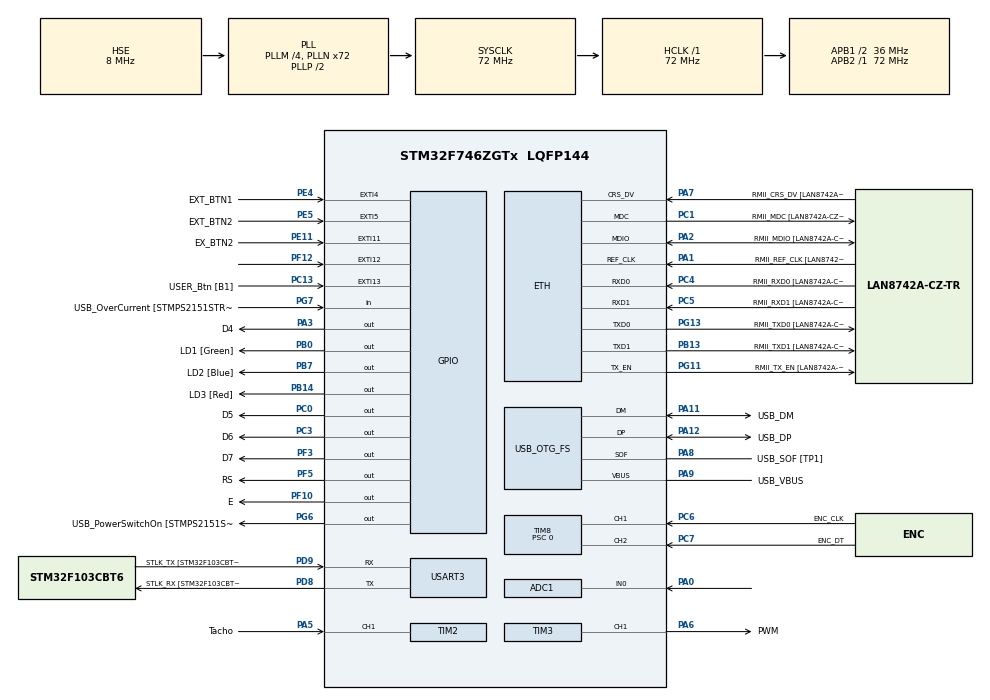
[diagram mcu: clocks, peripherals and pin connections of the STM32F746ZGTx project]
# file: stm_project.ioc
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ADC1.Channel-0\#ChannelRegularConversion=ADC_CHANNEL_0
ADC1.NbrOfConversionFlag=1
ADC1.Rank-0\#ChannelRegularConversion=1
ADC1.SamplingTime-0\#ChannelRegularConversion=ADC_SAMPLETIME_15CYCLES
ADC1.master=1
ETH.MediaInterface=HAL_ETH_RMII_MODE
ETH.PHY_Name=LAN8742A_PHY_ADDRESS
ETH.PHY_Value=0
ETH.PhyAddress=0
Mcu.Family=STM32F7
Mcu.Name=STM32F746ZGTx
Mcu.Package=LQFP144
NVIC.EXTI15_10_IRQn=true\:0\:0\:false\:false\:true\:true\:true\:true
NVIC.EXTI4_IRQn=true\:0\:0\:false\:false\:true\:true\:true\:true
NVIC.EXTI9_5_IRQn=true\:0\:0\:false\:false\:true\:true\:true\:true
NVIC.PriorityGroup=NVIC_PRIORITYGROUP_4
NVIC.TIM2_IRQn=true\:0\:0\:false\:false\:true\:true\:true\:true
NVIC.TIM3_IRQn=true\:0\:0\:false\:false\:true\:true\:true\:true
NVIC.TIM4_IRQn=true\:0\:0\:false\:false\:true\:true\:true\:true
NVIC.TIM7_IRQn=true\:0\:0\:false\:false\:true\:true\:true\:true
NVIC.TIM8_BRK_TIM12_IRQn=true\:0\:0\:false\:false\:true\:true\:true\:true
NVIC.TIM8_UP_TIM13_IRQn=true\:0\:0\:false\:false\:true\:true\:true\:true
NVIC.USART3_IRQn=true\:0\:0\:false\:false\:true\:true\:true\:true
PA0/WKUP.Signal=ADCx_IN0
PA1.GPIO_Label=RMII_REF_CLK [LAN8742A-CZ-TR_REFCLK0]
PA1.Mode=RMII
PA1.Signal=ETH_REF_CLK
PA10.GPIO_Label=USB_ID
PA10.Signal=USB_OTG_FS_ID
PA11.GPIO_Label=USB_DM
PA11.Mode=Device_Only
PA11.Signal=USB_OTG_FS_DM
PA12.GPIO_Label=USB_DP
PA12.Mode=Device_Only
PA12.Signal=USB_OTG_FS_DP
PA13.GPIO_Label=TMS
PA13.Mode=Serial_Wire
PA13.Signal=SYS_JTMS-SWDIO
PA14.GPIO_Label=TCK
PA14.Mode=Serial_Wire
PA14.Signal=SYS_JTCK-SWCLK
PA2.GPIO_Label=RMII_MDIO [LAN8742A-CZ-TR_MDIO]
PA2.Mode=RMII
PA2.Signal=ETH_MDIO
PA3.GPIO_Label=D4
PA3.Signal=GPIO_Output
PA5.GPIO_Label=Tacho
PA5.GPIO_PuPd=GPIO_PULLUP
PA5.Signal=S_TIM2_CH1_ETR
PA6.GPIO_Label=PWM
PA6.Signal=S_TIM3_CH1
PA7.GPIO_Label=RMII_CRS_DV [LAN8742A-CZ-TR_CRS_DV]
PA7.Mode=RMII
PA7.Signal=ETH_CRS_DV
PA8.GPIO_Label=USB_SOF [TP1]
PA8.Mode=Activate_SOF_FS
PA8.Signal=USB_OTG_FS_SOF
PA9.GPIO_Label=USB_VBUS
PA9.Mode=Activate_VBUS
PA9.Signal=USB_OTG_FS_VBUS
PB0.GPIO_Label=LD1 [Green]
PB0.Signal=GPIO_Output
PB13.GPIO_Label=RMII_TXD1 [LAN8742A-CZ-TR_TXD1]
PB13.Mode=RMII
PB13.Signal=ETH_TXD1
PB14.GPIO_Label=LD3 [Red]
PB14.Signal=GPIO_Output
PB3.GPIO_Label=SW0
PB3.Signal=SYS_JTDO-SWO
PB7.GPIO_Label=LD2 [Blue]
PB7.Signal=GPIO_Output
PC0.GPIO_Label=D5
PC0.Signal=GPIO_Output
PC1.GPIO_Label=RMII_MDC [LAN8742A-CZ-TR_MDC]
PC1.Mode=RMII
PC1.Signal=ETH_MDC
PC13.GPIO_Label=USER_Btn [B1]
PC13.Signal=GPXTI13
PC14/OSC32_IN.Mode=LSE-External-Oscillator
PC14/OSC32_IN.Signal=RCC_OSC32_IN
PC15/OSC32_OUT.Mode=LSE-External-Oscillator
PC15/OSC32_OUT.Signal=RCC_OSC32_OUT
PC3.GPIO_Label=D6
PC3.Signal=GPIO_Output
PC4.GPIO_Label=RMII_RXD0 [LAN8742A-CZ-TR_RXD0]
PC4.Mode=RMII
PC4.Signal=ETH_RXD0
PC5.GPIO_Label=RMII_RXD1 [LAN8742A-CZ-TR_RXD1]
PC5.Mode=RMII
PC5.Signal=ETH_RXD1
PC6.GPIO_Label=ENC_CLK
PC6.Signal=S_TIM8_CH1
PC7.GPIO_Label=ENC_DT
PC7.Signal=S_TIM8_CH2
PD8.GPIO_Label=STLK_RX [STM32F103CBT6_PA3]
PD8.GPIO_PuPd=GPIO_PULLUP
PD8.Mode=Asynchronous
PD8.Signal=USART3_TX
PD9.GPIO_Label=STLK_TX [STM32F103CBT6_PA2]
PD9.GPIO_PuPd=GPIO_PULLUP
PD9.Mode=Asynchronous
PD9.Signal=USART3_RX
PE11.GPIO_Label=EX_BTN2
PE11.GPIO_PuPd=GPIO_PULLUP
PE11.Signal=GPXTI11
PE4.GPIO_Label=EXT_BTN1
PE4.Signal=GPXTI4
PE5.GPIO_Label=EXT_BTN2
PE5.Signal=GPXTI5
PF10.GPIO_Label=E
PF10.Signal=GPIO_Output
PF12.GPIO_PuPd=GPIO_PULLUP
PF12.Signal=GPXTI12
PF3.GPIO_Label=D7
PF3.Signal=GPIO_Output
PF5.GPIO_Label=RS
PF5.Signal=GPIO_Output
PG11.GPIO_Label=RMII_TX_EN [LAN8742A-CZ-TR_TXEN]
PG11.Mode=RMII
PG11.Signal=ETH_TX_EN
PG13.GPIO_Label=RMII_TXD0 [LAN8742A-CZ-TR_TXD0]
PG13.Mode=RMII
PG13.Signal=ETH_TXD0
PG6.GPIO_Label=USB_PowerSwitchOn [STMPS2151STR_EN]
PG6.Signal=GPIO_Output
PG7.GPIO_Label=USB_OverCurrent [STMPS2151STR_FAULT]
PG7.Signal=GPIO_Input
PH0/OSC_IN.GPIO_Label=MCO [STM32F103CBT6_PA8]
PH0/OSC_IN.Mode=HSE-External-Clock-Source
PH0/OSC_IN.Signal=RCC_OSC_IN
PH1/OSC_OUT.Mode=HSE-External-Clock-Source
PH1/OSC_OUT.Signal=RCC_OSC_OUT
ProjectManager.HeapSize=0x200
ProjectManager.StackSize=0x400
ProjectManager.TargetToolchain=STM32CubeIDE
RCC.48MHZClocksFreq_Value=24000000
RCC.AHBFreq_Value=72000000
RCC.APB1CLKDivider=RCC_HCLK_DIV2
RCC.APB1Freq_Value=36000000
RCC.APB1TimFreq_Value=72000000
RCC.APB2Freq_Value=72000000
RCC.APB2TimFreq_Value=72000000
RCC.CortexFreq_Value=72000000
RCC.HCLKFreq_Value=72000000
RCC.HSE_VALUE=8000000
RCC.HSI_VALUE=16000000
RCC.PLLM=4
RCC.PLLMUL=RCC_PLL_MUL9
RCC.PLLN=72
RCC.PLLQ=3
RCC.PRESCALERUSB=RCC_USBCLKSOURCE_PLL_DIV1_5
RCC.SYSCLKFreq_VALUE=72000000
RCC.SYSCLKSource=RCC_SYSCLKSOURCE_PLLCLK
RCC.SYSCLKSourceVirtual=RCC_SYSCLKSOURCE_PLLCLK
RCC.USBFreq_Value=48000000
RCC.VCOOutputFreq_Value=144000000
SH.ADCx_IN0.0=ADC1_IN0,IN0
SH.S_TIM2_CH1_ETR.0=TIM2_CH1,Input_Capture1_from_TI1
SH.S_TIM3_CH1.0=TIM3_CH1,PWM Generation1 CH1
SH.S_TIM8_CH1.0=TIM8_CH1,Encoder_Interface
SH.S_TIM8_CH2.0=TIM8_CH2,Encoder_Interface
TIM2.AutoReloadPreload=TIM_AUTORELOAD_PRELOAD_ENABLE
TIM2.Channel-Input_Capture1_from_TI1=TIM_CHANNEL_1
TIM2.Period=4294967295
TIM2.Prescaler=0
TIM3.Channel-PWM\ Generation1\ CH1=TIM_CHANNEL_1
TIM3.OC1Preload_PWM=DISABLE
TIM3.Period=99
TIM3.Prescaler=27
TIM3.Pulse-PWM\ Generation1\ CH1=39
TIM4.Period=1999
TIM4.Prescaler=7199
TIM6.Prescaler=71
TIM7.Period=9999
TIM7.Prescaler=7199
TIM8.EncoderMode=TIM_ENCODERMODE_TI12
TIM8.Period=300
TIM8.Prescaler=0
USART3.VirtualMode-Asynchronous=VM_ASYNC
USB_OTG_FS.VirtualMode=Device_Only
VP_TIM3_VS_ClockSourceINT.Mode=Internal
VP_TIM4_VS_ClockSourceINT.Mode=Internal
VP_TIM6_VS_ClockSourceINT.Mode=Enable_Timer
VP_TIM7_VS_ClockSourceINT.Mode=Enable_Timer
board=NUCLEO-F746ZG

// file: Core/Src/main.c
/* USER CODE BEGIN Header */
/**
  ******************************************************************************
  * @file           : main.c
  * @brief          : Main program body
  ******************************************************************************
  * @attention
  *
  * Copyright (c) 2024 STMicroelectronics.
  * All rights reserved.
  *
  * This software is licensed under terms that can be found in the LICENSE file
  * in the root directory of this software component.
  * If no LICENSE file comes with this software, it is provided AS-IS.
  *
  ******************************************************************************
  */
/* USER CODE END Header */
#include "main.h"
#include "adc.h"
#include "eth.h"
#include "tim.h"
#include "usart.h"
#include "usb_otg.h"
#include "gpio.h"

/* USER CODE BEGIN Includes */
//_____________________________________________________________________________________________________________________________________________________________
//______________________________________INCLUDY________________________________________________________________________________________________________________
//_____________________________________________________________________________________________________________________________________________________________
#include "pid_controller_config.h"
#include "btn_config.h"
#include "lcd.h"
#include "math.h"
//_____________________________________________________________________________________________________________________________________________________________
/* USER CODE END Includes */

/* USER CODE BEGIN PD */
//_____________________________________________________________________________________________________________________________________________________________
//________________________________________ZMIENNE______________________________________________________________________________________________________________
//_____________________________________________________________________________________________________________________________________________________________
int aktualne_obroty = 0;
int zadane_obroty = 1000;
int Duty = 50;
float e = 0;
float e_procent = 0;
_Bool tryb_pracy = 0;
int enc_raw = 0;
int enc_mod = 0;
int wyswietlany_ekran = 0;
int tryb_pracy_python = 0;
uint32_t pomiar_01 = 0;
uint32_t pomiar_02 = 0;
uint32_t roznica = 0;
uint8_t flaga = 0;
uint32_t frequency = 0;
uint8_t buffer[32];
uint16_t dlug_wiad = 5;
//_____________________________________________________________________________________________________________________________________________________________
//____________________________________TACHOMETR________________________________________________________________________________________________________________
//_____________________________________________________________________________________________________________________________________________________________
void HAL_TIM_IC_CaptureCallback(TIM_HandleTypeDef *htim){
    // Sprawdzenie, czy przerwanie pochodzi od timera 2
    if(htim == &htim2){
        // Włączenie LED jako sygnał zdarzenia
        HAL_GPIO_WritePin(LD1_GPIO_Port, LD1_Pin, 1);
        // Sprawdzenie, czy przerwanie pochodzi z kanału 1
        if (htim->Channel == HAL_TIM_ACTIVE_CHANNEL_1){
            // Pierwsze przechwycenie
            if (flaga == 0){
                // Odczytanie pierwszej wartości
                pomiar_01 = HAL_TIM_ReadCapturedValue(htim, TIM_CHANNEL_1);
                flaga = 1;
            }else{
                // Odczytanie drugiej wartości
                pomiar_02 = HAL_TIM_ReadCapturedValue(htim, TIM_CHANNEL_1);
                // Obliczenie różnicy
                if (pomiar_02 > pomiar_01){roznica = pomiar_02 - pomiar_01;}
                // Obliczenie częstotliwości
                frequency = HAL_RCC_GetPCLK1Freq() / roznica;
                // Obliczenie obrotów
                aktualne_obroty = frequency * 30;
                // Resetowanie licznika timera
                __HAL_TIM_SET_COUNTER(htim, 0);
                // Resetowanie flagi
                flaga = 0;
            }
        }
    }
}
//_____________________________________________________________________________________________________________________________________________________________
//___________________________STEROWANIE PID, ZMIANA TRYBOW_____________________________________________________________________________________________________
//_____________________________________________________________________________________________________________________________________________________________
void HAL_TIM_PeriodElapsedCallback(TIM_HandleTypeDef *htim)
{
    // Sprawdzenie, czy przerwanie pochodzi od timera 4
    if(htim == &htim4)
    {
        //____________________________STEROWANIE PID__________________________
        Duty = PID_GetOutput(&hpid1, zadane_obroty, aktualne_obroty); // Obliczanie wyjścia PID
        __HAL_TIM_SET_COMPARE(&htim3, TIM_CHANNEL_1, (uint32_t)(Duty)); // Ustawianie wartości porównania PWM
        e = zadane_obroty - aktualne_obroty; // Obliczanie błędu
        e = fabs(e); // Wartość bezwzględna błędu
        e_procent = (e/zadane_obroty)*100; // Obliczanie procentowego błędu
        //____________________________________________________________________
        //__________________________ZMIANA TRYBU I EKRANU_____________________
        // Zmiana trybu pracy po naciśnięciu przycisku 1
        if(BTN_DIO_EdgeDetected(&EXT_BTN1) == BTN_PRESSED_EDGE){
            if (tryb_pracy == 1)
                tryb_pracy = 0;
            else
                tryb_pracy = 1;
        }
        // Zmiana ekranu po naciśnięciu przycisku 2
        if(BTN_DIO_EdgeDetected(&EXT_BTN2) == BTN_PRESSED_EDGE){
            wyswietlany_ekran = wyswietlany_ekran + 1; // Zwiększenie indeksu ekranu
            if(wyswietlany_ekran == 3) // Jeśli osiągnięto 3 ekrany, wróć do 0
                wyswietlany_ekran = 0;
        }
        //____________________________________________________________________
        //__________________________REGULACJA ENKODER_________________________
        // Odczytanie surowego licznika enkodera
        enc_raw = __HAL_TIM_GET_COUNTER(&htim8);
        // Modyfikacja wartości licznika w zależności od wartości
        if(enc_raw < 100)
            enc_mod = 1000 + enc_raw; // Jeśli mniej niż 100, dodaj 1000
        else
            enc_mod = enc_raw * 10; // W przeciwnym przypadku pomnóż przez 10
        // Ustawienie zadanych obrotów na wartość enkodera, jeśli tryb pracy jest 1
        if(tryb_pracy == 1)
            zadane_obroty = enc_mod;
    }
    //____________________________________________________________________
    //__________________________WYSYLANIE UART____________________________
    // Sprawdzenie, czy przerwanie pochodzi od timera 7
    if(htim == &htim7)
    {
        uint8_t tx_buffer[64];
        // Przygotowanie danych do wysłania w formacie JSON
        int resp_len = sprintf((char*)tx_buffer, "{ \"RPM\":%d, \"RPM_REF\":%d, \"Duty\":%d }\n\r", aktualne_obroty, zadane_obroty, Duty);
        // Wysyłanie danych przez UART
        HAL_UART_Transmit(&huart3, tx_buffer, resp_len, 10);
    }
}
//_____________________________________________________________________________________________________________________________________________________________
//______________________________ODBIOR UART i PYTHOB TRYB______________________________________________________________________________________________________
//_____________________________________________________________________________________________________________________________________________________________
void HAL_UART_RxCpltCallback(UART_HandleTypeDef *huart){
    // Sprawdzenie, czy przerwanie pochodzi od UART3
    if (huart == &huart3) {
        // Terminator, aby traktować buffer jako string (dodanie końca ciągu)
        buffer[5] = '\0';
        // Odczytanie pierwszych 4 cyfr jako obroty
        sscanf((char*)buffer, "%4d", &zadane_obroty);
        // Odczytanie 5-tego znaku jako tryb
        char mode_char = buffer[4];
        // Ustawienie trybu pracy na podstawie otrzymanego znaku
        tryb_pracy_python = (mode_char == '1') ? 1 : 0;
        // Ponowne uruchomienie odbioru danych przez UART
        HAL_UART_Receive_IT(&huart3, buffer, 5);
        // Przypisanie trybu pracy
        tryb_pracy = tryb_pracy_python;
    }
}
//_____________________________________________________________________________________
//_____________________________________________________________________________________

/* USER CODE END PD */

void SystemClock_Config(void);

int main(void)
{

  /* MCU Configuration--------------------------------------------------------*/

  /* Reset of all peripherals, Initializes the Flash interface and the Systick. */
  HAL_Init();

  /* Configure the system clock */
  SystemClock_Config();

  /* Initialize all configured peripherals */
  MX_GPIO_Init();
  MX_ETH_Init();
  MX_USART3_UART_Init();
  MX_USB_OTG_FS_PCD_Init();
  MX_TIM2_Init();
  MX_TIM3_Init();
  MX_TIM4_Init();
  MX_TIM6_Init();
  MX_TIM7_Init();
  MX_ADC1_Init();
  MX_TIM8_Init();
  /* USER CODE BEGIN 2 */
  //____________________________________________________________________________________________________________________________________________
  //_____________________INICJALIZACJA WSZYSTKIEGO______________________________________________________________________________________________
  HAL_TIM_Base_Start_IT(&htim2);
  HAL_TIM_IC_Start_IT(&htim2, TIM_CHANNEL_1);
  HAL_TIM_PWM_Start(&htim3,TIM_CHANNEL_1);
  HAL_TIM_Base_Start_IT(&htim4);
  HAL_TIM_Base_Start_IT(&htim7);
  HAL_UART_Receive_IT(&huart3, buffer, dlug_wiad);
  HAL_TIM_Encoder_Start(&htim8, TIM_CHANNEL_ALL);
  //____________________________________________________________________________________________________________________________________________
  //_________________________INICJALIZACJA LCD__________________________________________________________________________________________________
  Lcd_PortType ports[] = {D4_GPIO_Port, D5_GPIO_Port, D6_GPIO_Port, D7_GPIO_Port};
  Lcd_PinType pins[] = {D4_Pin, D5_Pin, D6_Pin, D7_Pin};
  Lcd_HandleTypeDef lcd = Lcd_create(ports, pins, RS_GPIO_Port, RS_Pin, E_GPIO_Port, E_Pin, LCD_4_BIT_MODE);
  //____________________________________________________________________________________________________________________________________________
  //____________________________________________________________________________________________________________________________________________

  /* USER CODE END 2 */

  /* Infinite loop */
  /* USER CODE BEGIN WHILE */
  while (1)
  {
  //____________________________________________________________________________________________________________________________________________
  //________________________________LCD PRZELACZANIE____________________________________________________________________________________________
	  if(wyswietlany_ekran==0){
		  HAL_Delay(500);
		  Lcd_clear(&lcd);
		  Lcd_cursor(&lcd, 0,1);
		  Lcd_string(&lcd, "RPM: ");
		  Lcd_cursor(&lcd, 0,7);
		  Lcd_int(&lcd, aktualne_obroty);
		  Lcd_cursor(&lcd, 1,1);
		  Lcd_string(&lcd, "REF: ");
		  Lcd_cursor(&lcd, 1,7);
		  Lcd_int(&lcd, zadane_obroty);
	  } else if(wyswietlany_ekran==1){
		  HAL_Delay(500);
		  Lcd_clear(&lcd);
		  Lcd_cursor(&lcd, 0,1);
		  Lcd_string(&lcd, "Tryb: ");
		  Lcd_cursor(&lcd, 0,7);
		  Lcd_int(&lcd, tryb_pracy);
		  Lcd_cursor(&lcd, 1,1);
		  Lcd_string(&lcd, "Duty: ");
		  Lcd_cursor(&lcd, 1,7);
		  Lcd_int(&lcd, Duty);
	  }else if(wyswietlany_ekran==2){
 		  HAL_Delay(500);
 		  Lcd_clear(&lcd);
 		  Lcd_cursor(&lcd, 0,1);
 		  Lcd_string(&lcd, "e: ");
 		  Lcd_cursor(&lcd, 0,7);
 		  Lcd_int(&lcd, e);
 		  Lcd_cursor(&lcd, 1,1);
 		  Lcd_string(&lcd, "e%: ");
 		  Lcd_cursor(&lcd, 1,7);
 		  Lcd_int(&lcd, e_procent);
 	  }

    /* USER CODE END WHILE */

  }
}

void SystemClock_Config(void)
{
  RCC_OscInitTypeDef RCC_OscInitStruct = {0};
  RCC_ClkInitTypeDef RCC_ClkInitStruct = {0};

  /** Configure LSE Drive Capability
  */
  HAL_PWR_EnableBkUpAccess();

  /** Configure the main internal regulator output voltage
  */
  __HAL_RCC_PWR_CLK_ENABLE();
  __HAL_PWR_VOLTAGESCALING_CONFIG(PWR_REGULATOR_VOLTAGE_SCALE3);

  /** Initializes the RCC Oscillators according to the specified parameters
  * in the RCC_OscInitTypeDef structure.
  */
  RCC_OscInitStruct.OscillatorType = RCC_OSCILLATORTYPE_HSE;
  RCC_OscInitStruct.HSEState = RCC_HSE_BYPASS;
  RCC_OscInitStruct.PLL.PLLState = RCC_PLL_ON;
  RCC_OscInitStruct.PLL.PLLSource = RCC_PLLSOURCE_HSE;
  RCC_OscInitStruct.PLL.PLLM = 4;
  RCC_OscInitStruct.PLL.PLLN = 72;
  RCC_OscInitStruct.PLL.PLLP = RCC_PLLP_DIV2;
  RCC_OscInitStruct.PLL.PLLQ = 3;
  if (HAL_RCC_OscConfig(&RCC_OscInitStruct) != HAL_OK)
  {
    Error_Handler();
  }

  /** Initializes the CPU, AHB and APB buses clocks
  */
  RCC_ClkInitStruct.ClockType = RCC_CLOCKTYPE_HCLK|RCC_CLOCKTYPE_SYSCLK
                              |RCC_CLOCKTYPE_PCLK1|RCC_CLOCKTYPE_PCLK2;
  RCC_ClkInitStruct.SYSCLKSource = RCC_SYSCLKSOURCE_PLLCLK;
  RCC_ClkInitStruct.AHBCLKDivider = RCC_SYSCLK_DIV1;
  RCC_ClkInitStruct.APB1CLKDivider = RCC_HCLK_DIV2;
  RCC_ClkInitStruct.APB2CLKDivider = RCC_HCLK_DIV1;

  if (HAL_RCC_ClockConfig(&RCC_ClkInitStruct, FLASH_LATENCY_2) != HAL_OK)
  {
    Error_Handler();
  }
}

void Error_Handler(void)
{
  __disable_irq();
  while (1)
  {
  }
}
